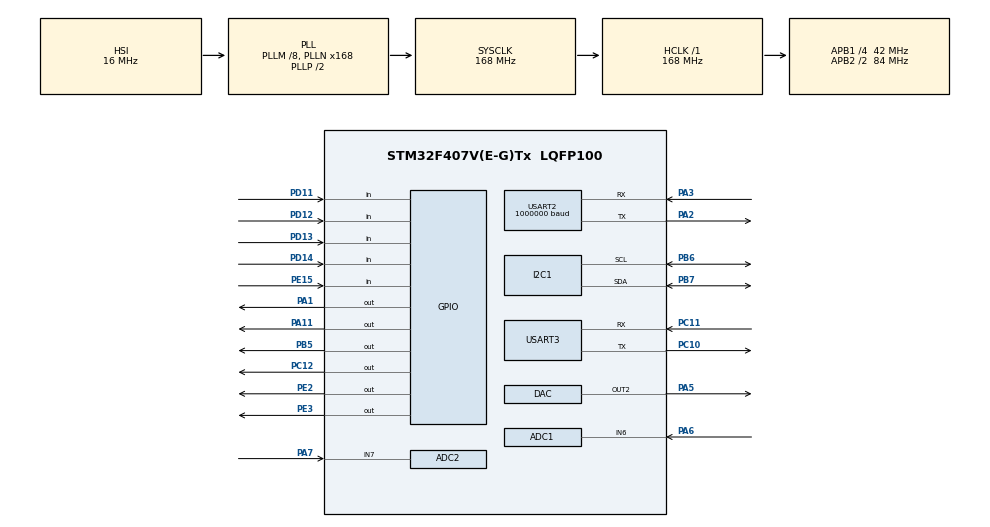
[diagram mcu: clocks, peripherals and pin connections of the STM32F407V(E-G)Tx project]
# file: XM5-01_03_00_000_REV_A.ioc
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ADC1.Channel-0\#ChannelRegularConversion=ADC_CHANNEL_6
ADC1.ClockPrescaler=ADC_CLOCK_SYNC_PCLK_DIV4
ADC1.NbrOfConversionFlag=1
ADC1.Rank-0\#ChannelRegularConversion=1
ADC1.SamplingTime-0\#ChannelRegularConversion=ADC_SAMPLETIME_3CYCLES
ADC1.master=1
ADC2.Channel-0\#ChannelRegularConversion=ADC_CHANNEL_7
ADC2.ClockPrescaler=ADC_CLOCK_SYNC_PCLK_DIV4
ADC2.NbrOfConversionFlag=1
ADC2.Rank-0\#ChannelRegularConversion=1
ADC2.SamplingTime-0\#ChannelRegularConversion=ADC_SAMPLETIME_3CYCLES
Dma.Request0=USART3_RX
Dma.Request1=USART3_TX
Dma.USART3_RX.0.Direction=DMA_PERIPH_TO_MEMORY
Dma.USART3_RX.0.FIFOMode=DMA_FIFOMODE_DISABLE
Dma.USART3_RX.0.Instance=DMA1_Stream1
Dma.USART3_RX.0.MemDataAlignment=DMA_MDATAALIGN_BYTE
Dma.USART3_RX.0.MemInc=DMA_MINC_ENABLE
Dma.USART3_RX.0.Mode=DMA_NORMAL
Dma.USART3_RX.0.PeriphDataAlignment=DMA_PDATAALIGN_BYTE
Dma.USART3_RX.0.PeriphInc=DMA_PINC_DISABLE
Dma.USART3_RX.0.Priority=DMA_PRIORITY_HIGH
Dma.USART3_TX.1.Direction=DMA_MEMORY_TO_PERIPH
Dma.USART3_TX.1.FIFOMode=DMA_FIFOMODE_DISABLE
Dma.USART3_TX.1.Instance=DMA1_Stream3
Dma.USART3_TX.1.MemDataAlignment=DMA_MDATAALIGN_BYTE
Dma.USART3_TX.1.MemInc=DMA_MINC_ENABLE
Dma.USART3_TX.1.Mode=DMA_NORMAL
Dma.USART3_TX.1.PeriphDataAlignment=DMA_PDATAALIGN_BYTE
Dma.USART3_TX.1.PeriphInc=DMA_PINC_DISABLE
Dma.USART3_TX.1.Priority=DMA_PRIORITY_HIGH
FREERTOS.Tasks01=defaultTask,0,128,StartDefaultTask,Default,NULL
FREERTOS.configLIBRARY_MAX_SYSCALL_INTERRUPT_PRIORITY=5
FREERTOS.configMAX_PRIORITIES=16
Mcu.Family=STM32F4
Mcu.Name=STM32F407V(E-G)Tx
Mcu.Package=LQFP100
NVIC.ADC_IRQn=true\:15\:0\:true\:true\:true\:3\:true\:true
NVIC.DMA1_Stream1_IRQn=true\:5\:0\:true\:true\:true\:1\:true\:false
NVIC.DMA1_Stream3_IRQn=true\:15\:0\:true\:true\:true\:2\:true\:false
NVIC.I2C1_ER_IRQn=true\:0\:0\:true\:false\:true\:false\:true
NVIC.I2C1_EV_IRQn=true\:5\:0\:false\:true\:true\:4\:true\:true
NVIC.PriorityGroup=NVIC_PRIORITYGROUP_4
NVIC.TIM1_UP_TIM10_IRQn=true\:0\:0\:false\:false\:true\:false\:false
NVIC.TIM2_IRQn=true\:5\:0\:true\:false\:true\:true\:true
NVIC.TIM3_IRQn=true\:5\:0\:true\:false\:true\:true\:true
NVIC.TIM6_DAC_IRQn=true\:14\:0\:true\:false\:true\:true\:true
NVIC.TimeBase=TIM1_UP_TIM10_IRQn
NVIC.TimeBaseIP=TIM1
NVIC.USART2_IRQn=true\:0\:0\:true\:false\:true\:false\:true
NVIC.USART3_IRQn=true\:0\:0\:true\:false\:true\:false\:true
PA0-WKUP.Mode=SYS_WakeUp0
PA0-WKUP.Signal=SYS_WKUP
PA1.Signal=GPIO_Output
PA11.Signal=GPIO_Output
PA13.Mode=Serial_Wire
PA13.Signal=SYS_JTMS-SWDIO
PA14.Mode=Serial_Wire
PA14.Signal=SYS_JTCK-SWCLK
PA2.Mode=Asynchronous
PA2.Signal=USART2_TX
PA3.Mode=Asynchronous
PA3.Signal=USART2_RX
PA5.Signal=COMP_DAC2_group
PA6.Signal=ADCx_IN6
PA7.Signal=ADCx_IN7
PB5.GPIO_ModeDefaultOutputPP=GPIO_MODE_OUTPUT_OD
PB5.GPIO_PuPd=GPIO_PULLUP
PB5.Signal=GPIO_Output
PB6.Mode=I2C
PB6.Signal=I2C1_SCL
PB7.Mode=I2C
PB7.Signal=I2C1_SDA
PC10.Mode=Asynchronous
PC10.Signal=USART3_TX
PC11.Mode=Asynchronous
PC11.Signal=USART3_RX
PC12.Signal=GPIO_Output
PD11.GPIO_PuPd=GPIO_PULLUP
PD11.Signal=GPIO_Input
PD12.GPIO_PuPd=GPIO_PULLUP
PD12.Signal=GPIO_Input
PD13.GPIO_PuPd=GPIO_PULLUP
PD13.Signal=GPIO_Input
PD14.GPIO_PuPd=GPIO_PULLDOWN
PD14.Signal=GPIO_Input
PE15.GPIO_PuPd=GPIO_PULLUP
PE15.Signal=GPIO_Input
PE2.Signal=GPIO_Output
PE3.GPIO_PuPd=GPIO_PULLDOWN
PE3.Signal=GPIO_Output
PH0-OSC_IN.Mode=HSE-External-Oscillator
PH0-OSC_IN.Signal=RCC_OSC_IN
PH1-OSC_OUT.Mode=HSE-External-Oscillator
PH1-OSC_OUT.Signal=RCC_OSC_OUT
ProjectManager.HeapSize=0x200
ProjectManager.StackSize=0x400
ProjectManager.TargetToolchain=MDK-ARM V5
RCC.48MHZClocksFreq_Value=84000000
RCC.AHBFreq_Value=168000000
RCC.APB1CLKDivider=RCC_HCLK_DIV4
RCC.APB1Freq_Value=42000000
RCC.APB1TimFreq_Value=84000000
RCC.APB2CLKDivider=RCC_HCLK_DIV2
RCC.APB2Freq_Value=84000000
RCC.APB2TimFreq_Value=168000000
RCC.CortexFreq_Value=168000000
RCC.HCLKFreq_Value=168000000
RCC.HSE_VALUE=8000000
RCC.HSI_VALUE=16000000
RCC.LSE_VALUE=32768
RCC.PLLM=8
RCC.PLLN=168
RCC.SYSCLKFreq_VALUE=168000000
RCC.SYSCLKSource=RCC_SYSCLKSOURCE_PLLCLK
RCC.VCOOutputFreq_Value=336000000
SH.ADCx_IN6.0=ADC1_IN6,IN6
SH.ADCx_IN7.0=ADC2_IN7,IN7
SH.COMP_DAC2_group.0=DAC_OUT2,DAC_OUT2
TIM2.Prescaler=168
USART2.BaudRate=1000000
USART2.VirtualMode=VM_ASYNC
USART3.VirtualMode=VM_ASYNC
VP_FREERTOS_VS_ENABLE.Mode=Enabled
VP_SYS_VS_tim1.Mode=TIM1
VP_TIM2_VS_ClockSourceINT.Mode=Internal
VP_TIM3_VS_ClockSourceINT.Mode=Internal
board=XM5-01_03_00_000_REV_A

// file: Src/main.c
/**
  ******************************************************************************
  * @file           : main.c
  * @brief          : Main program body
  ******************************************************************************
  * This notice applies to any and all portions of this file
  * that are not between comment pairs USER CODE BEGIN and
  * USER CODE END. Other portions of this file, whether
  * inserted by the user or by software development tools
  * are owned by their respective copyright owners.
  *
  * Copyright (c) 2019 STMicroelectronics International N.V.
  * All rights reserved.
  *
  * Redistribution and use in source and binary forms, with or without
  * modification, are permitted, provided that the following conditions are met:
  *
  * 1. Redistribution of source code must retain the above copyright notice,
  *    this list of conditions and the following disclaimer.
  * 2. Redistributions in binary form must reproduce the above copyright notice,
  *    this list of conditions and the following disclaimer in the documentation
  *    and/or other materials provided with the distribution.
  * 3. Neither the name of STMicroelectronics nor the names of other
  *    contributors to this software may be used to endorse or promote products
  *    derived from this software without specific written permission.
  * 4. This software, including modifications and/or derivative works of this
  *    software, must execute solely and exclusively on microcontroller or
  *    microprocessor devices manufactured by or for STMicroelectronics.
  * 5. Redistribution and use of this software other than as permitted under
  *    this license is void and will automatically terminate your rights under
  *    this license.
  *
  * THIS SOFTWARE IS PROVIDED BY STMICROELECTRONICS AND CONTRIBUTORS "AS IS"
  * AND ANY EXPRESS, IMPLIED OR STATUTORY WARRANTIES, INCLUDING, BUT NOT
  * LIMITED TO, THE IMPLIED WARRANTIES OF MERCHANTABILITY, FITNESS FOR A
  * PARTICULAR PURPOSE AND NON-INFRINGEMENT OF THIRD PARTY INTELLECTUAL PROPERTY
  * RIGHTS ARE DISCLAIMED TO THE FULLEST EXTENT PERMITTED BY LAW. IN NO EVENT
  * SHALL STMICROELECTRONICS OR CONTRIBUTORS BE LIABLE FOR ANY DIRECT, INDIRECT,
  * INCIDENTAL, SPECIAL, EXEMPLARY, OR CONSEQUENTIAL DAMAGES (INCLUDING, BUT NOT
  * LIMITED TO, PROCUREMENT OF SUBSTITUTE GOODS OR SERVICES; LOSS OF USE, DATA,
  * OR PROFITS; OR BUSINESS INTERRUPTION) HOWEVER CAUSED AND ON ANY THEORY OF
  * LIABILITY, WHETHER IN CONTRACT, STRICT LIABILITY, OR TORT (INCLUDING
  * NEGLIGENCE OR OTHERWISE) ARISING IN ANY WAY OUT OF THE USE OF THIS SOFTWARE,
  * EVEN IF ADVISED OF THE POSSIBILITY OF SUCH DAMAGE.
  *
  ******************************************************************************
  */
#include "main.h"
#include "stm32f4xx_hal.h"
#include "cmsis_os.h"
#include "adc.h"
#include "dac.h"
#include "dma.h"
#include "i2c.h"
#include "tim.h"
#include "usart.h"
#include "gpio.h"

/* USER CODE BEGIN Includes */
#include "rs485.h"
#include "servo.h"
/* USER CODE END Includes */

/* USER CODE BEGIN PV */
/* Private variables ---------------------------------------------------------*/

/* USER CODE END PV */

void SystemClock_Config(void);
void MX_FREERTOS_Init(void);
static void MX_NVIC_Init(void);

/* USER CODE BEGIN PFP */
/* Private function prototypes -----------------------------------------------*/
extern struct SControl scontrol;
extern struct RS485 rs485;
/* USER CODE END PFP */

int main(void)
{

  /* MCU Configuration----------------------------------------------------------*/

  /* Reset of all peripherals, Initializes the Flash interface and the Systick. */
  HAL_Init();

  /* Configure the system clock */
  SystemClock_Config();

  /* Initialize all configured peripherals */
  MX_GPIO_Init();
  MX_DMA_Init();
  MX_DAC_Init();
  MX_ADC1_Init();
  MX_ADC2_Init();
  MX_I2C1_Init();
  MX_USART2_UART_Init();
  MX_USART3_UART_Init();
  MX_TIM2_Init();
  MX_TIM3_Init();

  /* Initialize interrupts */
  MX_NVIC_Init();
  /* USER CODE BEGIN 2 */
	servoInit(&scontrol);
	RS485_Init();

  /* USER CODE END 2 */

  /* Call init function for freertos objects (in freertos.c) */
  MX_FREERTOS_Init();

  /* Start scheduler */
  osKernelStart();

  /* We should never get here as control is now taken by the scheduler */

  /* Infinite loop */
  while (1)
  {

  }

}

void SystemClock_Config(void)
{

  RCC_OscInitTypeDef RCC_OscInitStruct;
  RCC_ClkInitTypeDef RCC_ClkInitStruct;

    /**Configure the main internal regulator output voltage
    */
  __HAL_RCC_PWR_CLK_ENABLE();

  __HAL_PWR_VOLTAGESCALING_CONFIG(PWR_REGULATOR_VOLTAGE_SCALE1);

    /**Initializes the CPU, AHB and APB busses clocks
    */
  RCC_OscInitStruct.OscillatorType = RCC_OSCILLATORTYPE_HSI;
  RCC_OscInitStruct.HSIState = RCC_HSI_ON;
  RCC_OscInitStruct.HSICalibrationValue = 16;
  RCC_OscInitStruct.PLL.PLLState = RCC_PLL_ON;
  RCC_OscInitStruct.PLL.PLLSource = RCC_PLLSOURCE_HSI;
  RCC_OscInitStruct.PLL.PLLM = 8;
  RCC_OscInitStruct.PLL.PLLN = 168;
  RCC_OscInitStruct.PLL.PLLP = RCC_PLLP_DIV2;
  RCC_OscInitStruct.PLL.PLLQ = 4;
  if (HAL_RCC_OscConfig(&RCC_OscInitStruct) != HAL_OK)
  {
    _Error_Handler(__FILE__, __LINE__);
  }

    /**Initializes the CPU, AHB and APB busses clocks
    */
  RCC_ClkInitStruct.ClockType = RCC_CLOCKTYPE_HCLK|RCC_CLOCKTYPE_SYSCLK
                              |RCC_CLOCKTYPE_PCLK1|RCC_CLOCKTYPE_PCLK2;
  RCC_ClkInitStruct.SYSCLKSource = RCC_SYSCLKSOURCE_PLLCLK;
  RCC_ClkInitStruct.AHBCLKDivider = RCC_SYSCLK_DIV1;
  RCC_ClkInitStruct.APB1CLKDivider = RCC_HCLK_DIV4;
  RCC_ClkInitStruct.APB2CLKDivider = RCC_HCLK_DIV2;

  if (HAL_RCC_ClockConfig(&RCC_ClkInitStruct, FLASH_LATENCY_5) != HAL_OK)
  {
    _Error_Handler(__FILE__, __LINE__);
  }

    /**Configure the Systick interrupt time
    */
  HAL_SYSTICK_Config(HAL_RCC_GetHCLKFreq()/1000);

    /**Configure the Systick
    */
  HAL_SYSTICK_CLKSourceConfig(SYSTICK_CLKSOURCE_HCLK);

  /* SysTick_IRQn interrupt configuration */
  HAL_NVIC_SetPriority(SysTick_IRQn, 15, 0);
}

/**
  * @brief NVIC Configuration.
  * @retval None
  */
static void MX_NVIC_Init(void)
{
  /* DMA1_Stream1_IRQn interrupt configuration */
  HAL_NVIC_SetPriority(DMA1_Stream1_IRQn, 5, 0);
  HAL_NVIC_EnableIRQ(DMA1_Stream1_IRQn);
  /* DMA1_Stream3_IRQn interrupt configuration */
  HAL_NVIC_SetPriority(DMA1_Stream3_IRQn, 15, 0);
  HAL_NVIC_EnableIRQ(DMA1_Stream3_IRQn);
  /* ADC_IRQn interrupt configuration */
  HAL_NVIC_SetPriority(ADC_IRQn, 15, 0);
  HAL_NVIC_EnableIRQ(ADC_IRQn);
  /* I2C1_EV_IRQn interrupt configuration */
  HAL_NVIC_SetPriority(I2C1_EV_IRQn, 5, 0);
  HAL_NVIC_EnableIRQ(I2C1_EV_IRQn);
}

void HAL_TIM_PeriodElapsedCallback(TIM_HandleTypeDef *htim)
{
  if (htim->Instance == TIM1) {
    HAL_IncTick();
  }
  /* USER CODE BEGIN Callback 1 */
	else if(htim->Instance == TIM2)
	{
		HAL_TIM_Base_Stop_IT(&htim2);
		HAL_TIM_Base_Stop(&htim2);
		HAL_UART_Abort_IT(&huart2);
		scontrol.servo_rx_timer = RX_OVERFLOW;
		scontrol.state = SERVO_IDLE;
	}
	else if(htim->Instance == TIM3)
	{
		HAL_TIM_Base_Stop_IT(&htim3);
		HAL_TIM_Base_Stop(&htim3);
		HAL_UART_Abort_IT(&huart3);
		rs485.state = IDLE;
	}
  /* USER CODE END Callback 1 */
}

void _Error_Handler(char *file, int line)
{
  while(1)
  {
  }
}

/************************ (C) COPYRIGHT STMicroelectronics *****END OF FILE****/

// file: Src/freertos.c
/**
  ******************************************************************************
  * File Name          : freertos.c
  * Description        : Code for freertos applications
  ******************************************************************************
  * This notice applies to any and all portions of this file
  * that are not between comment pairs USER CODE BEGIN and
  * USER CODE END. Other portions of this file, whether
  * inserted by the user or by software development tools
  * are owned by their respective copyright owners.
  *
  * Copyright (c) 2019 STMicroelectronics International N.V.
  * All rights reserved.
  *
  * Redistribution and use in source and binary forms, with or without
  * modification, are permitted, provided that the following conditions are met:
  *
  * 1. Redistribution of source code must retain the above copyright notice,
  *    this list of conditions and the following disclaimer.
  * 2. Redistributions in binary form must reproduce the above copyright notice,
  *    this list of conditions and the following disclaimer in the documentation
  *    and/or other materials provided with the distribution.
  * 3. Neither the name of STMicroelectronics nor the names of other
  *    contributors to this software may be used to endorse or promote products
  *    derived from this software without specific written permission.
  * 4. This software, including modifications and/or derivative works of this
  *    software, must execute solely and exclusively on microcontroller or
  *    microprocessor devices manufactured by or for STMicroelectronics.
  * 5. Redistribution and use of this software other than as permitted under
  *    this license is void and will automatically terminate your rights under
  *    this license.
  *
  * THIS SOFTWARE IS PROVIDED BY STMICROELECTRONICS AND CONTRIBUTORS "AS IS"
  * AND ANY EXPRESS, IMPLIED OR STATUTORY WARRANTIES, INCLUDING, BUT NOT
  * LIMITED TO, THE IMPLIED WARRANTIES OF MERCHANTABILITY, FITNESS FOR A
  * PARTICULAR PURPOSE AND NON-INFRINGEMENT OF THIRD PARTY INTELLECTUAL PROPERTY
  * RIGHTS ARE DISCLAIMED TO THE FULLEST EXTENT PERMITTED BY LAW. IN NO EVENT
  * SHALL STMICROELECTRONICS OR CONTRIBUTORS BE LIABLE FOR ANY DIRECT, INDIRECT,
  * INCIDENTAL, SPECIAL, EXEMPLARY, OR CONSEQUENTIAL DAMAGES (INCLUDING, BUT NOT
  * LIMITED TO, PROCUREMENT OF SUBSTITUTE GOODS OR SERVICES; LOSS OF USE, DATA,
  * OR PROFITS; OR BUSINESS INTERRUPTION) HOWEVER CAUSED AND ON ANY THEORY OF
  * LIABILITY, WHETHER IN CONTRACT, STRICT LIABILITY, OR TORT (INCLUDING
  * NEGLIGENCE OR OTHERWISE) ARISING IN ANY WAY OUT OF THE USE OF THIS SOFTWARE,
  * EVEN IF ADVISED OF THE POSSIBILITY OF SUCH DAMAGE.
  *
  ******************************************************************************
  */

#include "FreeRTOS.h"
#include "task.h"
#include "cmsis_os.h"

/* USER CODE BEGIN Includes */
#include "stm32f4xx_hal.h"
#include "stm32f4xx_hal_uart.h"
#include "usart.h"
#include "gpio.h"
#include "rs485.h"
#include "servo.h"
#include "XM5-01_03_00_000_REV_A.h"
#include "semphr.h"
#define MAIN_THREAD_DELAY 1000/SYS_FREQ // period of main programm thread, ms
#define SERVO_THREAD_DELAY MAIN_THREAD_DELAY/NUMBER_OF_SERVOS // period of servo thread, ms
#define USER_LED_HALFPERIOD 100*MAIN_THREAD_DELAY // half period of blik LED cycle, ms

/* USER CODE END Includes */

osThreadId defaultTaskHandle;

/* USER CODE BEGIN Variables */
extern struct RS485 rs485;
extern struct SControl scontrol;
extern UART_HandleTypeDef huart2;
extern UART_HandleTypeDef huart3;
extern TIM_HandleTypeDef htim2;
extern TIM_HandleTypeDef htim3;
osThreadId rs485TaskHandle;
osThreadId servoTaskHandle;
/* USER CODE END Variables */

void StartDefaultTask(void const * argument);

void MX_FREERTOS_Init(void); /* (MISRA C 2004 rule 8.1) */

/* USER CODE BEGIN FunctionPrototypes */
void StartRS485Task(void const * argument);
void ServoTask(void const * argument);

 xSemaphoreHandle xBinarySemaphore;
/* USER CODE END FunctionPrototypes */

/* Hook prototypes */

/* Init FreeRTOS */

void MX_FREERTOS_Init(void) {

  /* USER CODE BEGIN RTOS_SEMAPHORES */
  /* add semaphores, ... */
	vSemaphoreCreateBinary(xBinarySemaphore);
  /* USER CODE END RTOS_SEMAPHORES */

  /* Create the thread(s) */
  /* definition and creation of defaultTask */
  osThreadDef(defaultTask, StartDefaultTask, osPriorityNormal, 0, 128);
  defaultTaskHandle = osThreadCreate(osThread(defaultTask), NULL);

  /* USER CODE BEGIN RTOS_THREADS */
  /* add threads, ... */
	osThreadDef(rs485Task, StartRS485Task, osPriorityRealtime, 0, 128);
	rs485TaskHandle = osThreadCreate(osThread(rs485Task), NULL);
	osThreadDef(servoTask, ServoTask, osPriorityAboveNormal, 0, 256);
	servoTaskHandle = osThreadCreate(osThread(servoTask), NULL);
  /* USER CODE END RTOS_THREADS */

}

/* StartDefaultTask function */
void StartDefaultTask(void const * argument)
{

  /* USER CODE BEGIN StartDefaultTask */
	static uint16_t cnt1 = 0;
  /* Infinite loop */
  for(;;)
  {
    osDelay(MAIN_THREAD_DELAY);

		if (rs485.state == IDLE)
		{
			HAL_UART_Receive_IT(&huart3, rs485.rx_buffer, RS485_RX_SIZE);
			rs485.state = WAIT_IT_RECEIVE;

		}
		++cnt1;
		if ( !(cnt1 % USER_LED_HALFPERIOD))
		{
			HAL_GPIO_TogglePin(GPIOA, USER_LED);
		}

  }
  /* USER CODE END StartDefaultTask */
}

/* USER CODE BEGIN Application */
void  StartRS485Task (void const * argument)
{
	for(;;)
	{
		xSemaphoreTake(xBinarySemaphore, portMAX_DELAY);
		if ( rs485.state == WAIT_PARSE)
		{
			ParseIncoming(&rs485, &scontrol);
		}
	}
}
void ServoTask(void const * argument)
{
	for(;;)
	{
			osDelay(SERVO_THREAD_DELAY);

	//	if (scontrol.state == SERVO_IDLE)
	//	{
				startServoControl();
//		}
	}
}
/* USER CODE END Application */

/************************ (C) COPYRIGHT STMicroelectronics *****END OF FILE****/
